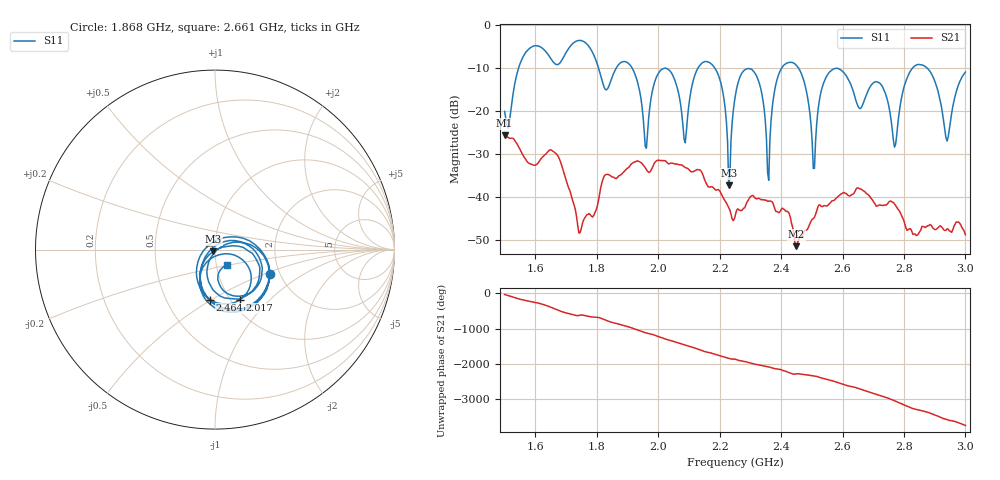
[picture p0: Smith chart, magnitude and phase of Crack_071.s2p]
# HZ S RI R 50
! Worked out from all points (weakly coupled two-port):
!   404 points, 1.5 GHz to 3 GHz, reference 50 ohm
!   highest |S21| = -25.66 dB at 1.5 GHz (marker M1); lowest = -51.5 dB at 2.449 GHz (marker M2)
!   lowest |S11| = -37.4 dB at 2.23 GHz (marker M3), VSWR 1.03, Z = 49.1 - j0.972 ohm
!   |S11| at or under -10 dB: 1.915 GHz to 2.13 GHz (214.9 MHz wide, 10.6 % of centre); 2.184 GHz to 2.402 GHz (218.2 MHz wide, 9.52 % of centre); 2.457 GHz to 2.828 GHz (371.7 MHz wide, 14.1 % of centre) (the widest 3 of 6)
!   S12 and S22 are empty: the file has one direction only
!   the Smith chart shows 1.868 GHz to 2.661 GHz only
!   S11 on the Smith chart (normalised r, x): 1.868 GHz: 1.78, -0.55; 2.017 GHz: 1.10, -0.68; 2.464 GHz: 0.81, -0.49; 2.661 GHz: 1.13, -0.20
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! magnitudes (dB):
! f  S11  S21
! 1.5 GHz  -20.1  -25.7
! 1.753 GHz  -3.7  -46.3
! 1.868 GHz  -9.5  -35.4
! 1.962 GHz  -28.7  -33.7
! 2.002 GHz  -11.0  -31.5
! 2.017 GHz  -10.1  -31.6
! 2.088 GHz  -27.4  -33.2
! 2.181 GHz  -9.7  -38.0
! 2.23 GHz  -37.4  -42.5
! 2.252 GHz  -16.1  -44.1
! 2.315 GHz  -11.2  -40.3
! 2.36 GHz  -36.2  -41.0
! 2.39 GHz  -12.1  -43.6
! 2.449 GHz  -9.3  -51.5
! 2.464 GHz  -11.0  -49.4
! 2.501 GHz  -27.2  -45.3
! 2.565 GHz  -10.5  -41.0
! 2.661 GHz  -19.2  -38.3
! 2.751 GHz  -18.9  -41.2
! 2.862 GHz  -9.4  -47.0
! 2.94 GHz  -27.0  -47.5
! 3 GHz  -11.0  -48.9
